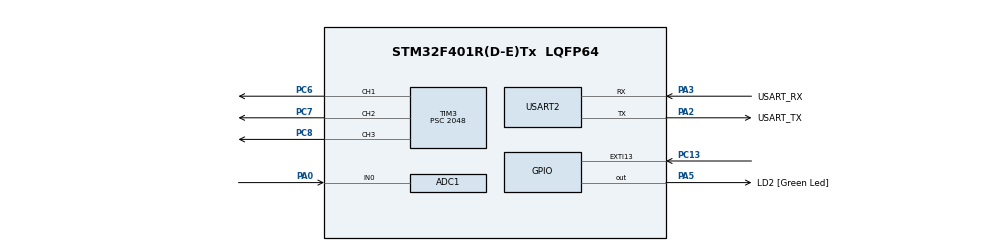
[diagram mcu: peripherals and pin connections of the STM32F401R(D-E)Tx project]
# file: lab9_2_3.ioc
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ADC1.Channel-0\#ChannelRegularConversion=ADC_CHANNEL_0
ADC1.NbrOfConversionFlag=1
ADC1.Rank-0\#ChannelRegularConversion=1
ADC1.Resolution=ADC_RESOLUTION_8B
ADC1.SamplingTime-0\#ChannelRegularConversion=ADC_SAMPLETIME_3CYCLES
ADC1.master=1
Mcu.Family=STM32F4
Mcu.Name=STM32F401R(D-E)Tx
Mcu.Package=LQFP64
NVIC.EXTI15_10_IRQn=true\:0\:0\:false\:false\:true\:true\:true
NVIC.PriorityGroup=NVIC_PRIORITYGROUP_0
NVIC.TIM3_IRQn=true\:0\:0\:false\:false\:true\:true\:true
NVIC.TIM4_IRQn=true\:0\:0\:false\:false\:true\:true\:true
PA0-WKUP.Signal=ADCx_IN0
PA13.GPIO_Label=TMS
PA13.Mode=Serial_Wire
PA13.Signal=SYS_JTMS-SWDIO
PA14.GPIO_Label=TCK
PA14.Mode=Serial_Wire
PA14.Signal=SYS_JTCK-SWCLK
PA2.GPIO_Label=USART_TX
PA2.GPIO_Mode=GPIO_MODE_AF_PP
PA2.GPIO_PuPd=GPIO_NOPULL
PA2.GPIO_Speed=GPIO_SPEED_FREQ_LOW
PA2.Mode=Asynchronous
PA2.Signal=USART2_TX
PA3.GPIO_Label=USART_RX
PA3.GPIO_Mode=GPIO_MODE_AF_PP
PA3.GPIO_PuPd=GPIO_NOPULL
PA3.GPIO_Speed=GPIO_SPEED_FREQ_LOW
PA3.Mode=Asynchronous
PA3.Signal=USART2_RX
PA5.GPIO_Label=LD2 [Green Led]
PA5.GPIO_Mode=GPIO_MODE_OUTPUT_PP
PA5.GPIO_PuPd=GPIO_NOPULL
PA5.GPIO_Speed=GPIO_SPEED_FREQ_LOW
PA5.Signal=GPIO_Output
PB3.GPIO_Label=SWO
PB3.Signal=SYS_JTDO-SWO
PC13-ANTI_TAMP.GPIO_ModeDefaultEXTI=GPIO_MODE_IT_FALLING
PC13-ANTI_TAMP.Signal=GPXTI13
PC14-OSC32_IN.Mode=LSE-External-Oscillator
PC14-OSC32_IN.Signal=RCC_OSC32_IN
PC15-OSC32_OUT.Mode=LSE-External-Oscillator
PC15-OSC32_OUT.Signal=RCC_OSC32_OUT
PC6.Signal=S_TIM3_CH1
PC7.Signal=S_TIM3_CH2
PC8.Signal=S_TIM3_CH3
PH0\ -\ OSC_IN.Mode=HSE-External-Clock-Source
PH0\ -\ OSC_IN.Signal=RCC_OSC_IN
PH1\ -\ OSC_OUT.Mode=HSE-External-Clock-Source
PH1\ -\ OSC_OUT.Signal=RCC_OSC_OUT
ProjectManager.HeapSize=0x200
ProjectManager.StackSize=0x400
ProjectManager.TargetToolchain=STM32CubeIDE
RCC.48MHZClocksFreq_Value=48000000
RCC.AHBFreq_Value=84000000
RCC.APB1CLKDivider=RCC_HCLK_DIV2
RCC.APB1Freq_Value=42000000
RCC.APB1TimFreq_Value=84000000
RCC.APB2Freq_Value=84000000
RCC.APB2TimFreq_Value=84000000
RCC.CortexFreq_Value=84000000
RCC.HCLKFreq_Value=84000000
RCC.HSE_VALUE=8000000
RCC.HSI_VALUE=16000000
RCC.PLLN=336
RCC.PLLP=RCC_PLLP_DIV4
RCC.PLLQ=7
RCC.SYSCLKFreq_VALUE=84000000
RCC.SYSCLKSource=RCC_SYSCLKSOURCE_PLLCLK
RCC.VCOOutputFreq_Value=336000000
SH.ADCx_IN0.0=ADC1_IN0,IN0
SH.S_TIM3_CH1.0=TIM3_CH1,Output Compare1 CH1
SH.S_TIM3_CH2.0=TIM3_CH2,Output Compare2 CH2
SH.S_TIM3_CH3.0=TIM3_CH3,Output Compare3 CH3
TIM3.Channel-Output\ Compare1\ CH1=TIM_CHANNEL_1
TIM3.Channel-Output\ Compare2\ CH2=TIM_CHANNEL_2
TIM3.Channel-Output\ Compare3\ CH3=TIM_CHANNEL_3
TIM3.OCMode_1=TIM_OCMODE_TOGGLE
TIM3.OCMode_2=TIM_OCMODE_TOGGLE
TIM3.OCMode_3=TIM_OCMODE_TOGGLE
TIM3.Prescaler=2048
TIM4.Channel-Output\ Compare2\ No\ Output=TIM_CHANNEL_2
TIM4.Prescaler=2048
USART2.VirtualMode=VM_ASYNC
VP_TIM3_VS_ClockSourceINT.Mode=Internal
VP_TIM4_VS_ClockSourceINT.Mode=Internal
VP_TIM4_VS_no_output2.Mode=Output Compare2 No Output
board=NUCLEO-F401RE

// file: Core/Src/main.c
/* USER CODE BEGIN Header */
/**
  ******************************************************************************
  * @file           : main.c
  * @brief          : Main program body
  ******************************************************************************
  * @attention
  *
  * Copyright (c) 2023 STMicroelectronics.
  * All rights reserved.
  *
  * This software is licensed under terms that can be found in the LICENSE file
  * in the root directory of this software component.
  * If no LICENSE file comes with this software, it is provided AS-IS.
  *
  ******************************************************************************
  */
/* USER CODE END Header */
#include "main.h"

/* USER CODE BEGIN PD */

#define fclk (84e6/(2048+1)) // prescaler set to 2048 TODO why if I put 2047 it does not work as expected?

#define f1max (10.0e3)
#define f1min (1.0e3)
#define f2max (5.0e3)
#define f2min (0.5e3)
#define f3max (2.5e3)
#define f3min (0.25e3)

#define f4 2.0

#define potmax 255

#define DIOR DIER

/* USER CODE END PD */

/* USER CODE BEGIN PM */

#define CALCULATE_FREQUENCY(fmin, fmax, potx) (fmin + (pot/((float)potmax))*(fmax-fmin))

/* USER CODE END PM */

TIM_HandleTypeDef htim4;

void SystemClock_Config(void);
static void MX_GPIO_Init(void);
static void MX_USART2_UART_Init(void);
static void MX_TIM3_Init(void);
static void MX_TIM4_Init(void);
static void MX_ADC1_Init(void);

/* USER CODE BEGIN 0 */

int val = (fclk / (2*f1min));
int oldval;

int val4 = (fclk / f4); // with no 2* because this is not a toggle

/* USER CODE END 0 */

int main(void)
{

  /* MCU Configuration--------------------------------------------------------*/

  /* Reset of all peripherals, Initializes the Flash interface and the Systick. */
  HAL_Init();

  /* Configure the system clock */
  SystemClock_Config();

  /* Initialize all configured peripherals */
  MX_GPIO_Init();
  MX_USART2_UART_Init();
  MX_TIM3_Init();
  MX_TIM4_Init();
  MX_ADC1_Init();

  /* Infinite loop */
  /* USER CODE BEGIN WHILE */
    oldval = val;

  	LL_TIM_WriteReg(TIM3, CCR1, val);  // set initial threshold CH1
    LL_TIM_WriteReg(TIM3, CCR2, val*2);  // set initial threshold CH2
    LL_TIM_WriteReg(TIM3, CCR3, val*4);  // set initial threshold CH3

    LL_TIM_WriteReg(TIM4, CCR2, val4);  // set initial threshold TIM4 CH2

    LL_TIM_WriteReg(TIM3, SR, LL_TIM_ReadReg(TIM3, SR) & ~(1 << 1));   // delete OC flag CH1
    LL_TIM_WriteReg(TIM3, SR, LL_TIM_ReadReg(TIM3, SR) & ~(1 << 2));   // delete OC flag CH2
    LL_TIM_WriteReg(TIM3, SR, LL_TIM_ReadReg(TIM3, SR) & ~(1 << 3));   // delete OC flag CH3

    LL_TIM_WriteReg(TIM4, SR, LL_TIM_ReadReg(TIM4, SR) & ~(1 << 2));   // delete OC flag TIM4 CH2

    LL_TIM_WriteReg(TIM3, CR1, LL_TIM_ReadReg(TIM3, CR1) | 0x1);  // counter enable
    LL_TIM_WriteReg(TIM4, CR1, LL_TIM_ReadReg(TIM4, CR1) | 0x1);  // counter enable

    LL_TIM_WriteReg(TIM3, DIOR, LL_TIM_ReadReg(TIM3, DIOR) | (1 << 1)); // enable interrupt on  CH1
    LL_TIM_WriteReg(TIM3, DIOR, LL_TIM_ReadReg(TIM3, DIOR) | (1 << 2)); // enable interrupt on  CH2
    LL_TIM_WriteReg(TIM3, DIOR, LL_TIM_ReadReg(TIM3, DIOR) | (1 << 3)); // enable interrupt on  CH3

    LL_TIM_WriteReg(TIM4, DIOR, LL_TIM_ReadReg(TIM4, DIOR) | (1 << 2)); // enable interrupt on  CH2

    LL_ADC_WriteReg(ADC1, CR2, LL_ADC_ReadReg(ADC1, CR2) | 1); // set ADON to 1

  while (1)
  {
	  if(LL_ADC_ReadReg(ADC1, SR) & (1 << 1)){ // read EOC bit: if ADC finishes conversion
		LL_ADC_WriteReg(ADC1, SR, LL_ADC_ReadReg(ADC1, SR) & ~(1 << 1)); // reset EOC bit
		uint8_t pot = (uint8_t)(LL_ADC_ReadReg(ADC1, DR) & 0xFFFF); // read pot current value
		float f = CALCULATE_FREQUENCY(f1min, f1max, pot);
		//float f1 = f;
		val = fclk / (2*f);
		/*
		f = CALCULATE_FREQUENCY(f2min, f2max, pot);
		float f2 = f;
		//val2 = val1*2; //fclk / (2*f);
		f = CALCULATE_FREQUENCY(f3min, f3max, pot);
		val3 = val1*4; //fclk / (2*f);
		//float f3 = f;
	    int i = 1;
	    */
	  }
    /* USER CODE END WHILE */

  }
}

void SystemClock_Config(void)
{
  LL_FLASH_SetLatency(LL_FLASH_LATENCY_2);
  while(LL_FLASH_GetLatency()!= LL_FLASH_LATENCY_2)
  {
  }
  LL_PWR_SetRegulVoltageScaling(LL_PWR_REGU_VOLTAGE_SCALE2);
  LL_RCC_HSI_SetCalibTrimming(16);
  LL_RCC_HSI_Enable();

   /* Wait till HSI is ready */
  while(LL_RCC_HSI_IsReady() != 1)
  {

  }
  LL_RCC_PLL_ConfigDomain_SYS(LL_RCC_PLLSOURCE_HSI, LL_RCC_PLLM_DIV_16, 336, LL_RCC_PLLP_DIV_4);
  LL_RCC_PLL_Enable();

   /* Wait till PLL is ready */
  while(LL_RCC_PLL_IsReady() != 1)
  {

  }
  LL_RCC_SetAHBPrescaler(LL_RCC_SYSCLK_DIV_1);
  LL_RCC_SetAPB1Prescaler(LL_RCC_APB1_DIV_2);
  LL_RCC_SetAPB2Prescaler(LL_RCC_APB2_DIV_1);
  LL_RCC_SetSysClkSource(LL_RCC_SYS_CLKSOURCE_PLL);

   /* Wait till System clock is ready */
  while(LL_RCC_GetSysClkSource() != LL_RCC_SYS_CLKSOURCE_STATUS_PLL)
  {

  }
  LL_SetSystemCoreClock(84000000);

   /* Update the time base */
  if (HAL_InitTick (TICK_INT_PRIORITY) != HAL_OK)
  {
    Error_Handler();
  }
  LL_RCC_SetTIMPrescaler(LL_RCC_TIM_PRESCALER_TWICE);
}

static void MX_ADC1_Init(void)
{

  LL_ADC_InitTypeDef ADC_InitStruct = {0};
  LL_ADC_REG_InitTypeDef ADC_REG_InitStruct = {0};
  LL_ADC_CommonInitTypeDef ADC_CommonInitStruct = {0};

  LL_GPIO_InitTypeDef GPIO_InitStruct = {0};

  /* Peripheral clock enable */
  LL_APB2_GRP1_EnableClock(LL_APB2_GRP1_PERIPH_ADC1);

  LL_AHB1_GRP1_EnableClock(LL_AHB1_GRP1_PERIPH_GPIOA);
  /**ADC1 GPIO Configuration
  PA0-WKUP   ------> ADC1_IN0
  */
  GPIO_InitStruct.Pin = LL_GPIO_PIN_0;
  GPIO_InitStruct.Mode = LL_GPIO_MODE_ANALOG;
  GPIO_InitStruct.Pull = LL_GPIO_PULL_NO;
  LL_GPIO_Init(GPIOA, &GPIO_InitStruct);

  /** Common config
  */
  ADC_InitStruct.Resolution = LL_ADC_RESOLUTION_8B;
  ADC_InitStruct.DataAlignment = LL_ADC_DATA_ALIGN_RIGHT;
  ADC_InitStruct.SequencersScanMode = LL_ADC_SEQ_SCAN_DISABLE;
  LL_ADC_Init(ADC1, &ADC_InitStruct);
  ADC_REG_InitStruct.TriggerSource = LL_ADC_REG_TRIG_SOFTWARE;
  ADC_REG_InitStruct.SequencerLength = LL_ADC_REG_SEQ_SCAN_DISABLE;
  ADC_REG_InitStruct.SequencerDiscont = LL_ADC_REG_SEQ_DISCONT_DISABLE;
  ADC_REG_InitStruct.ContinuousMode = LL_ADC_REG_CONV_SINGLE;
  ADC_REG_InitStruct.DMATransfer = LL_ADC_REG_DMA_TRANSFER_NONE;
  LL_ADC_REG_Init(ADC1, &ADC_REG_InitStruct);
  LL_ADC_REG_SetFlagEndOfConversion(ADC1, LL_ADC_REG_FLAG_EOC_UNITARY_CONV);
  ADC_CommonInitStruct.CommonClock = LL_ADC_CLOCK_SYNC_PCLK_DIV4;
  LL_ADC_CommonInit(__LL_ADC_COMMON_INSTANCE(ADC1), &ADC_CommonInitStruct);
  /** Configure Regular Channel
  */
  LL_ADC_REG_SetSequencerRanks(ADC1, LL_ADC_REG_RANK_1, LL_ADC_CHANNEL_0);
  LL_ADC_SetChannelSamplingTime(ADC1, LL_ADC_CHANNEL_0, LL_ADC_SAMPLINGTIME_3CYCLES);

}

static void MX_TIM3_Init(void)
{

  LL_TIM_InitTypeDef TIM_InitStruct = {0};
  LL_TIM_OC_InitTypeDef TIM_OC_InitStruct = {0};

  LL_GPIO_InitTypeDef GPIO_InitStruct = {0};

  /* Peripheral clock enable */
  LL_APB1_GRP1_EnableClock(LL_APB1_GRP1_PERIPH_TIM3);

  /* TIM3 interrupt Init */
  NVIC_SetPriority(TIM3_IRQn, NVIC_EncodePriority(NVIC_GetPriorityGrouping(),0, 0));
  NVIC_EnableIRQ(TIM3_IRQn);

  TIM_InitStruct.Prescaler = 2048;
  TIM_InitStruct.CounterMode = LL_TIM_COUNTERMODE_UP;
  TIM_InitStruct.Autoreload = 65535;
  TIM_InitStruct.ClockDivision = LL_TIM_CLOCKDIVISION_DIV1;
  LL_TIM_Init(TIM3, &TIM_InitStruct);
  LL_TIM_DisableARRPreload(TIM3);
  LL_TIM_SetClockSource(TIM3, LL_TIM_CLOCKSOURCE_INTERNAL);
  TIM_OC_InitStruct.OCMode = LL_TIM_OCMODE_TOGGLE;
  TIM_OC_InitStruct.OCState = LL_TIM_OCSTATE_ENABLE;
  TIM_OC_InitStruct.OCNState = LL_TIM_OCSTATE_DISABLE;
  TIM_OC_InitStruct.CompareValue = 0;
  TIM_OC_InitStruct.OCPolarity = LL_TIM_OCPOLARITY_HIGH;
  LL_TIM_OC_Init(TIM3, LL_TIM_CHANNEL_CH1, &TIM_OC_InitStruct);
  LL_TIM_OC_DisableFast(TIM3, LL_TIM_CHANNEL_CH1);
  LL_TIM_OC_Init(TIM3, LL_TIM_CHANNEL_CH2, &TIM_OC_InitStruct);
  LL_TIM_OC_DisableFast(TIM3, LL_TIM_CHANNEL_CH2);
  LL_TIM_OC_Init(TIM3, LL_TIM_CHANNEL_CH3, &TIM_OC_InitStruct);
  LL_TIM_OC_DisableFast(TIM3, LL_TIM_CHANNEL_CH3);
  LL_TIM_SetTriggerOutput(TIM3, LL_TIM_TRGO_RESET);
  LL_TIM_DisableMasterSlaveMode(TIM3);
  LL_AHB1_GRP1_EnableClock(LL_AHB1_GRP1_PERIPH_GPIOC);
  /**TIM3 GPIO Configuration
  PC6   ------> TIM3_CH1
  PC7   ------> TIM3_CH2
  PC8   ------> TIM3_CH3
  */
  GPIO_InitStruct.Pin = LL_GPIO_PIN_6|LL_GPIO_PIN_7|LL_GPIO_PIN_8;
  GPIO_InitStruct.Mode = LL_GPIO_MODE_ALTERNATE;
  GPIO_InitStruct.Speed = LL_GPIO_SPEED_FREQ_LOW;
  GPIO_InitStruct.OutputType = LL_GPIO_OUTPUT_PUSHPULL;
  GPIO_InitStruct.Pull = LL_GPIO_PULL_NO;
  GPIO_InitStruct.Alternate = LL_GPIO_AF_2;
  LL_GPIO_Init(GPIOC, &GPIO_InitStruct);

}

static void MX_TIM4_Init(void)
{

  TIM_ClockConfigTypeDef sClockSourceConfig = {0};
  TIM_MasterConfigTypeDef sMasterConfig = {0};
  TIM_OC_InitTypeDef sConfigOC = {0};

  htim4.Instance = TIM4;
  htim4.Init.Prescaler = 2048;
  htim4.Init.CounterMode = TIM_COUNTERMODE_UP;
  htim4.Init.Period = 65535;
  htim4.Init.ClockDivision = TIM_CLOCKDIVISION_DIV1;
  htim4.Init.AutoReloadPreload = TIM_AUTORELOAD_PRELOAD_DISABLE;
  if (HAL_TIM_Base_Init(&htim4) != HAL_OK)
  {
    Error_Handler();
  }
  sClockSourceConfig.ClockSource = TIM_CLOCKSOURCE_INTERNAL;
  if (HAL_TIM_ConfigClockSource(&htim4, &sClockSourceConfig) != HAL_OK)
  {
    Error_Handler();
  }
  if (HAL_TIM_OC_Init(&htim4) != HAL_OK)
  {
    Error_Handler();
  }
  sMasterConfig.MasterOutputTrigger = TIM_TRGO_RESET;
  sMasterConfig.MasterSlaveMode = TIM_MASTERSLAVEMODE_DISABLE;
  if (HAL_TIMEx_MasterConfigSynchronization(&htim4, &sMasterConfig) != HAL_OK)
  {
    Error_Handler();
  }
  sConfigOC.OCMode = TIM_OCMODE_TIMING;
  sConfigOC.Pulse = 0;
  sConfigOC.OCPolarity = TIM_OCPOLARITY_HIGH;
  sConfigOC.OCFastMode = TIM_OCFAST_DISABLE;
  if (HAL_TIM_OC_ConfigChannel(&htim4, &sConfigOC, TIM_CHANNEL_2) != HAL_OK)
  {
    Error_Handler();
  }

}

static void MX_USART2_UART_Init(void)
{

  LL_USART_InitTypeDef USART_InitStruct = {0};

  LL_GPIO_InitTypeDef GPIO_InitStruct = {0};

  /* Peripheral clock enable */
  LL_APB1_GRP1_EnableClock(LL_APB1_GRP1_PERIPH_USART2);

  LL_AHB1_GRP1_EnableClock(LL_AHB1_GRP1_PERIPH_GPIOA);
  /**USART2 GPIO Configuration
  PA2   ------> USART2_TX
  PA3   ------> USART2_RX
  */
  GPIO_InitStruct.Pin = USART_TX_Pin|USART_RX_Pin;
  GPIO_InitStruct.Mode = LL_GPIO_MODE_ALTERNATE;
  GPIO_InitStruct.Speed = LL_GPIO_SPEED_FREQ_LOW;
  GPIO_InitStruct.OutputType = LL_GPIO_OUTPUT_PUSHPULL;
  GPIO_InitStruct.Pull = LL_GPIO_PULL_NO;
  GPIO_InitStruct.Alternate = LL_GPIO_AF_7;
  LL_GPIO_Init(GPIOA, &GPIO_InitStruct);

  USART_InitStruct.BaudRate = 115200;
  USART_InitStruct.DataWidth = LL_USART_DATAWIDTH_8B;
  USART_InitStruct.StopBits = LL_USART_STOPBITS_1;
  USART_InitStruct.Parity = LL_USART_PARITY_NONE;
  USART_InitStruct.TransferDirection = LL_USART_DIRECTION_TX_RX;
  USART_InitStruct.HardwareFlowControl = LL_USART_HWCONTROL_NONE;
  USART_InitStruct.OverSampling = LL_USART_OVERSAMPLING_16;
  LL_USART_Init(USART2, &USART_InitStruct);
  LL_USART_ConfigAsyncMode(USART2);
  LL_USART_Enable(USART2);

}

static void MX_GPIO_Init(void)
{
  LL_EXTI_InitTypeDef EXTI_InitStruct = {0};
  LL_GPIO_InitTypeDef GPIO_InitStruct = {0};

  /* GPIO Ports Clock Enable */
  LL_AHB1_GRP1_EnableClock(LL_AHB1_GRP1_PERIPH_GPIOC);
  LL_AHB1_GRP1_EnableClock(LL_AHB1_GRP1_PERIPH_GPIOH);
  LL_AHB1_GRP1_EnableClock(LL_AHB1_GRP1_PERIPH_GPIOA);
  LL_AHB1_GRP1_EnableClock(LL_AHB1_GRP1_PERIPH_GPIOB);

  /**/
  LL_GPIO_ResetOutputPin(LD2_GPIO_Port, LD2_Pin);

  /**/
  LL_SYSCFG_SetEXTISource(LL_SYSCFG_EXTI_PORTC, LL_SYSCFG_EXTI_LINE13);

  /**/
  EXTI_InitStruct.Line_0_31 = LL_EXTI_LINE_13;
  EXTI_InitStruct.LineCommand = ENABLE;
  EXTI_InitStruct.Mode = LL_EXTI_MODE_IT;
  EXTI_InitStruct.Trigger = LL_EXTI_TRIGGER_FALLING;
  LL_EXTI_Init(&EXTI_InitStruct);

  /**/
  LL_GPIO_SetPinPull(GPIOC, LL_GPIO_PIN_13, LL_GPIO_PULL_NO);

  /**/
  LL_GPIO_SetPinMode(GPIOC, LL_GPIO_PIN_13, LL_GPIO_MODE_INPUT);

  /**/
  GPIO_InitStruct.Pin = LD2_Pin;
  GPIO_InitStruct.Mode = LL_GPIO_MODE_OUTPUT;
  GPIO_InitStruct.Speed = LL_GPIO_SPEED_FREQ_LOW;
  GPIO_InitStruct.OutputType = LL_GPIO_OUTPUT_PUSHPULL;
  GPIO_InitStruct.Pull = LL_GPIO_PULL_NO;
  LL_GPIO_Init(LD2_GPIO_Port, &GPIO_InitStruct);

  /* EXTI interrupt init*/
  NVIC_SetPriority(EXTI15_10_IRQn, NVIC_EncodePriority(NVIC_GetPriorityGrouping(),0, 0));
  NVIC_EnableIRQ(EXTI15_10_IRQn);

}

void Error_Handler(void)
{
  __disable_irq();
  while (1)
  {
  }
}
